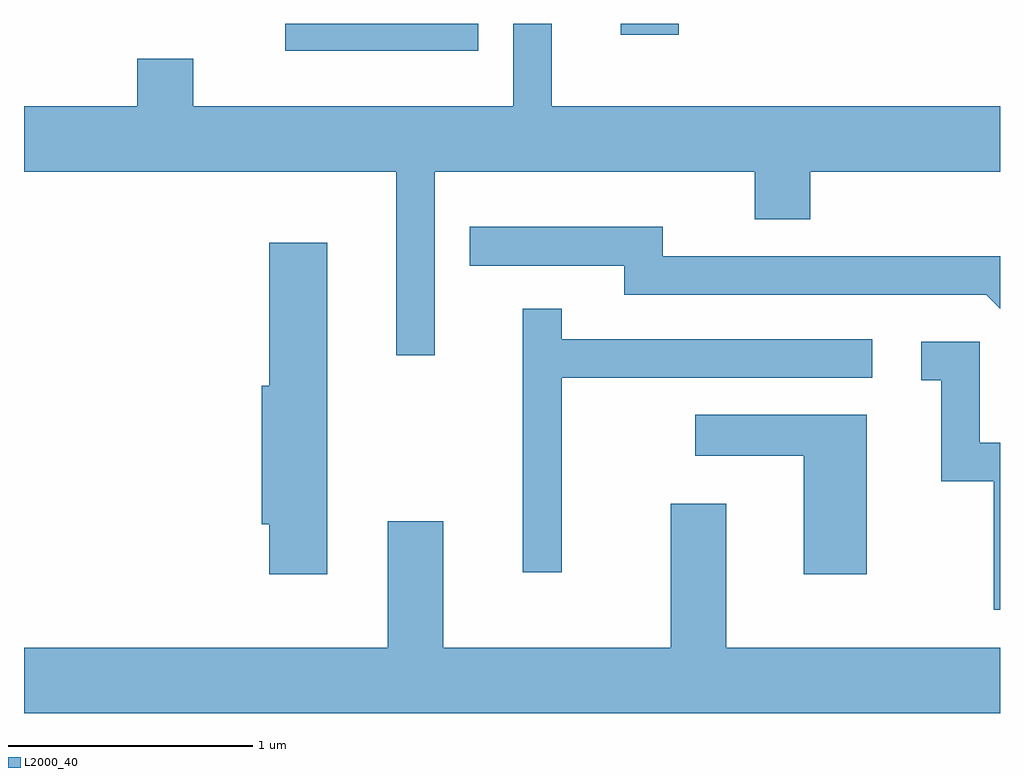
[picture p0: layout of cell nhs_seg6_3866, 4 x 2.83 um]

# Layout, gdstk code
import gdstk
lib = gdstk.Library(unit=1e-6, precision=1e-09)
def R(c, l, rs):  # rectangles x0, y0, x1, y1
    for r in rs: c.add(gdstk.rectangle(r[:2], r[2:], *l))
def P(c, l, *ps):  # polygons
    for p in ps: c.add(gdstk.Polygon(p, *l))
L2000_40 = (2000, 40)

nhs_seg6_3866 = lib.new_cell('nhs_seg6_3866')
R(nhs_seg6_3866, L2000_40, [(302.681,1586.051,303.473,1586.162), (304.056,1586.116,304.294,1586.162)])
P(nhs_seg6_3866, L2000_40, [(303.294,1585.556),(304.606,1585.556),(304.606,1585.361),(304.834,1585.361),(304.834,1585.556),(305.611,1585.556),(305.611,1585.824),(303.774,1585.824),(303.774,1586.162),(303.616,1586.162),(303.616,1585.824),(302.304,1585.824),(302.304,1586.019),(302.076,1586.019),(302.076,1585.824),(301.611,1585.824),(301.611,1585.556),(303.136,1585.556),(303.136,1584.803),(303.294,1584.803)],
  [(305.611,1585.209),(304.229,1585.209),(304.229,1585.329),(303.438,1585.329),(303.438,1585.171),(304.071,1585.171),(304.071,1585.051),(305.554,1585.051),(305.611,1584.994)],
  [(302.854,1585.264),(302.616,1585.264),(302.616,1584.679),(302.586,1584.679),(302.586,1584.111),(302.616,1584.111),(302.616,1583.906),(302.854,1583.906)],
  [(303.814,1584.711),(305.088,1584.711),(305.088,1584.869),(303.814,1584.869),(303.814,1584.993),(303.656,1584.993),(303.656,1583.913),(303.814,1583.913)],
  [(305.611,1584.444),(305.529,1584.444),(305.529,1584.859),(305.288,1584.859),(305.288,1584.701),(305.371,1584.701),(305.371,1584.286),(305.586,1584.286),(305.586,1583.761),(305.611,1583.761)],
  [(305.064,1584.559),(304.363,1584.559),(304.363,1584.391),(304.806,1584.391),(304.806,1583.906),(305.064,1583.906)],
  [(305.611,1583.604),(304.489,1583.604),(304.489,1584.194),(304.261,1584.194),(304.261,1583.604),(303.329,1583.604),(303.329,1584.124),(303.101,1584.124),(303.101,1583.604),(301.611,1583.604),(301.611,1583.336),(305.611,1583.336)])

lib.write_gds('nhs_seg6_3866.gds')
